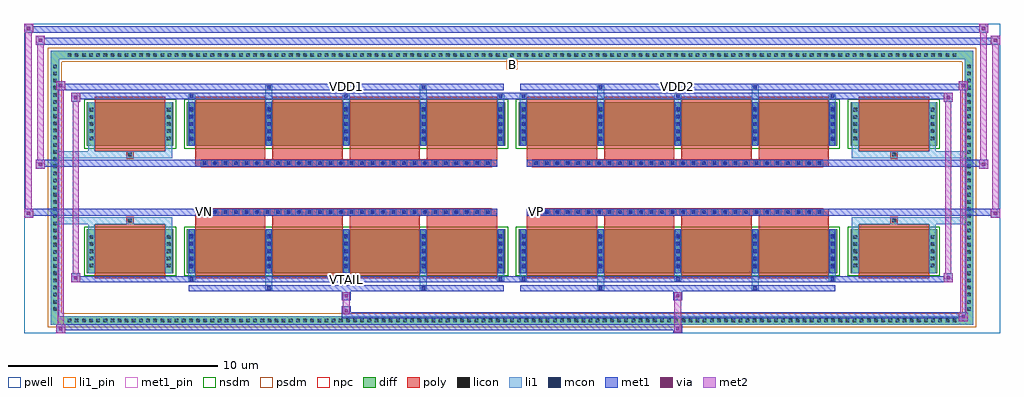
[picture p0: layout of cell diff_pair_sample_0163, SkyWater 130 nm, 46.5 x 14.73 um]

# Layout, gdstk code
import gdstk
lib = gdstk.Library(unit=1e-6, precision=5e-09)
def R(c, l, rs):  # rectangles x0, y0, x1, y1
    for r in rs: c.add(gdstk.rectangle(r[:2], r[2:], *l))
def A(c, l, x, y, w, h, nx, ny, dx, dy):  # array of equal rectangles
    R(c, l, [(x+i*dx, y+j*dy, x+i*dx+w, y+j*dy+h) for i in range(nx) for j in range(ny)])
def P(c, l, *ps):  # polygons
    for p in ps: c.add(gdstk.Polygon(p, *l))
pwell = (64, 44)
diff = (65, 20)
poly = (66, 20)
licon = (66, 44)
li1_pin = (67, 16)
li1 = (67, 20)
mcon = (67, 44)
met1_pin = (68, 16)
met1 = (68, 20)
via = (68, 44)
met2 = (69, 20)
nsdm = (93, 44)
psdm = (94, 20)
npc = (95, 20)

diff_pair_sample_0163 = lib.new_cell('diff_pair_sample_0163')
R(diff_pair_sample_0163, pwell, [(-23.25,-6.93,23.25,7.8), (-20.57,-5.12,-0.01,-0.8), (0.01,-5.12,20.57,-0.8), (-20.57,0.8,-0.01,5.12), (0.01,0.8,20.57,5.12)])
A(diff_pair_sample_0163, diff, -21.285, -6.53, 0.41, 0.41, 125, 2, 0.34, 12.65)
A(diff_pair_sample_0163, diff, -21.98, -5.985, 0.41, 0.41, 1, 35, 0, 0.34)
A(diff_pair_sample_0163, diff, 21.57, -5.985, 0.41, 0.41, 1, 35, 0, 0.34)
R(diff_pair_sample_0163, diff, [(-21.285,-6.53,21.285,-6.12), (-21.98,-5.985,-21.57,5.985), (21.57,-5.985,21.98,5.985), (-20.26,-4.075,-16.13,-1.985), (-15.49,-4.075,-0.32,-1.985), (0.32,-4.075,15.49,-1.985), (16.13,-4.075,20.26,-1.985), (-20.26,1.985,-16.13,4.075), (-15.49,1.985,-0.32,4.075), (0.32,1.985,15.49,4.075), (16.13,1.985,20.26,4.075), (-21.285,6.12,21.285,6.53)])
P(diff_pair_sample_0163, diff, [(21.98,6.53),(-21.98,6.53),(-21.98,-6.12),(-21.57,-6.12),(-21.57,6.12),(21.57,6.12),(21.57,-6.12),(-21.57,-6.12),(-21.98,-6.12),(-21.98,-6.53),(21.98,-6.53)])
A(diff_pair_sample_0163, poly, -15.1, -4.325, 3.35, 2.59, 4, 2, 3.68, 6.06)
A(diff_pair_sample_0163, poly, 0.71, -4.325, 3.35, 2.59, 4, 2, 3.68, 6.06)
A(diff_pair_sample_0163, poly, -15.1, -1.735, 3.35, 0.405, 4, 2, 3.68, 3.065)
A(diff_pair_sample_0163, poly, 0.71, -1.735, 3.35, 0.405, 4, 2, 3.68, 3.065)
A(diff_pair_sample_0163, poly, -14.82, -1.33, 0.33, 0.33, 28, 2, 0.5, 2.33)
A(diff_pair_sample_0163, poly, 0.99, -1.33, 0.33, 0.33, 28, 2, 0.5, 2.33)
R(diff_pair_sample_0163, poly, [(-19.87,-4.325,-16.52,-1.735), (16.52,-4.325,19.87,-1.735), (-18.36,-1.735,-18.03,-1.405), (-18.36,-1.735,-18.03,-1.405), (18.03,-1.735,18.36,-1.405), (18.03,-1.735,18.36,-1.405), (-15.1,-1.33,-0.71,-1), (0.71,-1.33,15.1,-1), (-15.1,1,-0.71,1.33), (0.71,1,15.1,1.33), (-18.36,1.405,-18.03,1.735), (-18.36,1.405,-18.03,1.735), (18.03,1.405,18.36,1.735), (18.03,1.405,18.36,1.735), (-19.87,1.735,-16.52,4.325), (16.52,1.735,19.87,4.325)])
A(diff_pair_sample_0163, licon, -21.165, -6.41, 0.17, 0.17, 125, 2, 0.34, 12.65)
A(diff_pair_sample_0163, licon, -21.86, -5.865, 0.17, 0.17, 1, 35, 0, 0.34)
A(diff_pair_sample_0163, licon, 21.69, -5.865, 0.17, 0.17, 1, 35, 0, 0.34)
A(diff_pair_sample_0163, licon, -20.12, -3.795, 0.17, 0.17, 1, 5, 0, 0.34)
A(diff_pair_sample_0163, licon, -16.44, -3.795, 0.17, 0.17, 1, 5, 0, 0.34)
A(diff_pair_sample_0163, licon, -15.35, -3.795, 0.17, 0.17, 5, 5, 3.68, 0.34)
A(diff_pair_sample_0163, licon, 0.46, -3.795, 0.17, 0.17, 5, 5, 3.68, 0.34)
A(diff_pair_sample_0163, licon, 16.27, -3.795, 0.17, 0.17, 1, 5, 0, 0.34)
A(diff_pair_sample_0163, licon, 19.95, -3.795, 0.17, 0.17, 1, 5, 0, 0.34)
A(diff_pair_sample_0163, licon, -14.74, -1.25, 0.17, 0.17, 28, 2, 0.5, 2.33)
A(diff_pair_sample_0163, licon, 1.07, -1.25, 0.17, 0.17, 28, 2, 0.5, 2.33)
A(diff_pair_sample_0163, licon, -20.12, 2.265, 0.17, 0.17, 1, 5, 0, 0.34)
A(diff_pair_sample_0163, licon, -16.44, 2.265, 0.17, 0.17, 1, 5, 0, 0.34)
A(diff_pair_sample_0163, licon, -15.35, 2.265, 0.17, 0.17, 5, 5, 3.68, 0.34)
A(diff_pair_sample_0163, licon, 0.46, 2.265, 0.17, 0.17, 5, 5, 3.68, 0.34)
A(diff_pair_sample_0163, licon, 16.27, 2.265, 0.17, 0.17, 1, 5, 0, 0.34)
A(diff_pair_sample_0163, licon, 19.95, 2.265, 0.17, 0.17, 1, 5, 0, 0.34)
R(diff_pair_sample_0163, licon, [(-18.28,-1.655,-18.11,-1.485), (18.11,-1.655,18.28,-1.485), (-18.28,1.485,-18.11,1.655), (18.11,1.485,18.28,1.655)])
R(diff_pair_sample_0163, li1_pin, [(-0.25,5.62,0.25,6.12)])
A(diff_pair_sample_0163, li1, -21.245, -6.49, 0.33, 0.33, 125, 2, 0.34, 12.65)
A(diff_pair_sample_0163, li1, -21.94, -5.945, 0.33, 0.33, 1, 35, 0, 0.34)
A(diff_pair_sample_0163, li1, 21.61, -5.945, 0.33, 0.33, 1, 35, 0, 0.34)
A(diff_pair_sample_0163, li1, -15.43, -4.45, 0.33, 0.375, 3, 2, 7.36, 8.525)
A(diff_pair_sample_0163, li1, -15.35, -4.45, 0.17, 0.17, 3, 2, 7.36, 8.73)
A(diff_pair_sample_0163, li1, 0.38, -4.45, 0.33, 0.375, 3, 2, 7.36, 8.525)
A(diff_pair_sample_0163, li1, 0.46, -4.45, 0.17, 0.17, 3, 2, 7.36, 8.73)
A(diff_pair_sample_0163, li1, -15.43, -4.075, 0.33, 2.09, 5, 2, 3.68, 6.06)
A(diff_pair_sample_0163, li1, 0.38, -4.075, 0.33, 2.09, 5, 2, 3.68, 6.06)
A(diff_pair_sample_0163, li1, -20.2, -3.875, 0.33, 0.33, 1, 5, 0, 0.34)
A(diff_pair_sample_0163, li1, -16.52, -3.875, 0.33, 0.33, 1, 5, 0, 0.34)
A(diff_pair_sample_0163, li1, -15.43, -3.875, 0.33, 0.33, 5, 5, 3.68, 0.34)
A(diff_pair_sample_0163, li1, 0.38, -3.875, 0.33, 0.33, 5, 5, 3.68, 0.34)
A(diff_pair_sample_0163, li1, 16.19, -3.875, 0.33, 0.33, 1, 5, 0, 0.34)
A(diff_pair_sample_0163, li1, 19.87, -3.875, 0.33, 0.33, 1, 5, 0, 0.34)
A(diff_pair_sample_0163, li1, -15.35, -3.835, 0.17, 0.17, 5, 5, 3.68, 0.36)
A(diff_pair_sample_0163, li1, -15.35, -3.835, 0.17, 1.61, 5, 2, 3.68, 6.06)
A(diff_pair_sample_0163, li1, 0.46, -3.835, 0.17, 0.17, 5, 5, 3.68, 0.36)
A(diff_pair_sample_0163, li1, 0.46, -3.835, 0.17, 1.61, 5, 2, 3.68, 6.06)
A(diff_pair_sample_0163, li1, -14.82, -1.33, 0.33, 0.33, 28, 2, 0.5, 2.33)
A(diff_pair_sample_0163, li1, 0.99, -1.33, 0.33, 0.33, 28, 2, 0.5, 2.33)
A(diff_pair_sample_0163, li1, -20.2, 2.185, 0.33, 0.33, 1, 5, 0, 0.34)
A(diff_pair_sample_0163, li1, -16.52, 2.185, 0.33, 0.33, 1, 5, 0, 0.34)
A(diff_pair_sample_0163, li1, -15.43, 2.185, 0.33, 0.33, 5, 5, 3.68, 0.34)
A(diff_pair_sample_0163, li1, 0.38, 2.185, 0.33, 0.33, 5, 5, 3.68, 0.34)
A(diff_pair_sample_0163, li1, 16.19, 2.185, 0.33, 0.33, 1, 5, 0, 0.34)
A(diff_pair_sample_0163, li1, 19.87, 2.185, 0.33, 0.33, 1, 5, 0, 0.34)
A(diff_pair_sample_0163, li1, -15.35, 2.225, 0.17, 0.17, 5, 5, 3.68, 0.36)
A(diff_pair_sample_0163, li1, 0.46, 2.225, 0.17, 0.17, 5, 5, 3.68, 0.36)
R(diff_pair_sample_0163, li1, [(-21.98,-6.53,-21.57,-6.12), (-21.98,-6.53,-21.57,-6.12), (-21.57,-6.53,21.57,-6.12), (21.57,-6.53,21.98,-6.12), (21.57,-6.53,21.98,-6.12), (-21.98,-6.12,-21.57,6.12), (21.57,-6.12,21.98,6.12), (-11.75,-4.88,-11.42,-4.075), (-11.67,-4.88,-11.5,-4.71), (-4.39,-4.88,-4.06,-4.075), (-4.31,-4.88,-4.14,-4.71), (4.06,-4.88,4.39,-4.075), (4.14,-4.88,4.31,-4.71), (11.42,-4.88,11.75,-4.075), (11.5,-4.88,11.67,-4.71), (-20.2,-4.075,-19.87,-1.985), (-16.52,-4.075,-16.19,-1.985), (16.19,-4.075,16.52,-1.985), (19.87,-4.075,20.2,-1.985), (-20.2,-1.985,-19.87,-1.405), (-16.52,-1.985,-16.19,-1.405), (16.19,-1.985,16.52,-1.405), (19.87,-1.985,20.2,-1.405), (-21.98,-1.735,-18.36,-1.405), (-20.2,-1.735,-18.36,-1.405), (-18.36,-1.735,-18.03,-1.405), (-18.03,-1.735,-16.19,-1.405), (16.19,-1.735,18.03,-1.405), (18.03,-1.735,18.36,-1.405), (18.03,-1.735,21.98,-1.405), (18.36,-1.735,20.2,-1.405), (-21.98,1.405,-18.36,1.735), (-20.2,1.405,-18.36,1.735), (-20.2,1.405,-19.87,1.985), (-18.36,1.405,-18.03,1.735), (-18.03,1.405,-16.19,1.735), (-16.52,1.405,-16.19,1.985), (16.19,1.405,18.03,1.735), (16.19,1.405,16.52,1.985), (18.03,1.405,18.36,1.735), (18.03,1.405,21.98,1.735), (18.36,1.405,20.2,1.735), (19.87,1.405,20.2,1.985), (-20.2,1.985,-19.87,4.075), (-16.52,1.985,-16.19,4.075), (16.19,1.985,16.52,4.075), (19.87,1.985,20.2,4.075), (-11.75,4.075,-11.42,4.88), (-4.39,4.075,-4.06,4.88), (4.06,4.075,4.39,4.88), (11.42,4.075,11.75,4.88), (-11.67,4.71,-11.5,4.88), (-4.31,4.71,-4.14,4.88), (4.14,4.71,4.31,4.88), (11.5,4.71,11.67,4.88), (-21.98,6.12,-21.57,6.53), (-21.98,6.12,-21.57,6.53), (-21.57,6.12,21.57,6.53), (21.57,6.12,21.98,6.53), (21.57,6.12,21.98,6.53)])
A(diff_pair_sample_0163, mcon, -15.35, -4.45, 0.17, 0.17, 3, 2, 7.36, 8.73)
A(diff_pair_sample_0163, mcon, 0.46, -4.45, 0.17, 0.17, 3, 2, 7.36, 8.73)
A(diff_pair_sample_0163, mcon, -15.35, -3.835, 0.17, 0.17, 5, 5, 3.68, 0.36)
A(diff_pair_sample_0163, mcon, 0.46, -3.835, 0.17, 0.17, 5, 5, 3.68, 0.36)
A(diff_pair_sample_0163, mcon, -14.74, -1.25, 0.17, 0.17, 28, 2, 0.5, 2.33)
A(diff_pair_sample_0163, mcon, 1.07, -1.25, 0.17, 0.17, 28, 2, 0.5, 2.33)
A(diff_pair_sample_0163, mcon, -15.35, 2.225, 0.17, 0.17, 5, 5, 3.68, 0.36)
A(diff_pair_sample_0163, mcon, 0.46, 2.225, 0.17, 0.17, 5, 5, 3.68, 0.36)
R(diff_pair_sample_0163, mcon, [(-11.67,-4.88,-11.5,-4.71), (-4.31,-4.88,-4.14,-4.71), (4.14,-4.88,4.31,-4.71), (11.5,-4.88,11.67,-4.71), (-11.67,4.71,-11.5,4.88), (-4.31,4.71,-4.14,4.88), (4.14,4.71,4.31,4.88), (11.5,4.71,11.67,4.88)])
R(diff_pair_sample_0163, met1_pin, [(-8.04,-4.49,-7.77,-4.22), (-14.79,-1.29,-14.52,-1.02), (1.02,-1.29,1.29,-1.02), (-8.04,4.67,-7.77,4.94), (7.77,4.67,8.04,4.94)])
A(diff_pair_sample_0163, met1, -15.41, -4.51, 0.29, 0.29, 3, 2, 7.36, 8.73)
A(diff_pair_sample_0163, met1, 0.4, -4.51, 0.29, 0.29, 3, 2, 7.36, 8.73)
A(diff_pair_sample_0163, met1, -15.41, -4.075, 0.29, 2.09, 5, 2, 3.68, 6.06)
A(diff_pair_sample_0163, met1, 0.4, -4.075, 0.29, 2.09, 5, 2, 3.68, 6.06)
A(diff_pair_sample_0163, met1, -15.41, -3.895, 0.29, 0.29, 5, 5, 3.68, 0.36)
A(diff_pair_sample_0163, met1, 0.4, -3.895, 0.29, 0.29, 5, 5, 3.68, 0.36)
A(diff_pair_sample_0163, met1, -14.8, -1.31, 0.29, 0.29, 28, 2, 0.5, 2.33)
A(diff_pair_sample_0163, met1, 1.01, -1.31, 0.29, 0.29, 28, 2, 0.5, 2.33)
A(diff_pair_sample_0163, met1, -15.41, 2.165, 0.29, 0.29, 5, 5, 3.68, 0.36)
A(diff_pair_sample_0163, met1, 0.4, 2.165, 0.29, 0.29, 5, 5, 3.68, 0.36)
R(diff_pair_sample_0163, met1, [(-21.71,-6.93,-21.28,-6.5), (7.69,-6.93,8.12,-6.5), (-21.71,-6.79,8.12,-6.5), (21.28,-6.36,21.71,-5.93), (-8.12,-6.22,21.71,-5.93), (-8.12,-6.08,-7.69,-5.65), (-8.12,-5.37,-7.69,-4.94), (7.69,-5.37,8.12,-4.94), (-15.41,-4.94,-0.4,-4.65), (-11.73,-4.94,-11.44,-4.65), (-4.37,-4.94,-4.08,-4.65), (0.4,-4.94,15.41,-4.65), (4.08,-4.94,4.37,-4.65), (11.44,-4.94,11.73,-4.65), (-21,-4.51,-20.57,-4.08), (-21,-4.51,-15.41,-4.22), (-15.41,-4.51,-0.4,-4.22), (-0.4,-4.51,0.4,-4.22), (0.4,-4.51,15.41,-4.22), (15.41,-4.51,21,-4.22), (20.57,-4.51,21,-4.08), (-23.25,-1.43,-22.82,-1), (22.82,-1.43,23.25,-1), (-23.25,-1.33,-0.71,-1), (-15.1,-1.33,-0.71,-1), (0.71,-1.33,15.1,-1), (0.71,-1.33,23.25,-1), (-22.68,0.9,-22.25,1.33), (22.25,0.9,22.68,1.33), (-22.68,1,-15.1,1.33), (-15.1,1,-0.71,1.33), (0.71,1,15.1,1.33), (15.1,1,22.68,1.33), (-21,4.08,-20.57,4.51), (20.57,4.08,21,4.51), (-21,4.22,-15.41,4.51), (-15.41,4.22,-0.4,4.51), (-0.4,4.22,0.4,4.51), (0.4,4.22,15.41,4.51), (15.41,4.22,21,4.51), (-21.71,4.65,-21.28,5.08), (-21.71,4.65,-15.41,4.94), (-15.41,4.65,-0.4,4.94), (-11.73,4.65,-11.44,4.94), (-4.37,4.65,-4.08,4.94), (0.4,4.65,15.41,4.94), (4.08,4.65,4.37,4.94), (11.44,4.65,11.73,4.94), (15.41,4.65,21.71,4.94), (21.28,4.65,21.71,5.08), (-22.68,6.8,-22.25,7.23), (-22.68,6.8,-20.57,7.13), (-20.57,6.8,20.57,7.13), (20.57,6.8,23.25,7.13), (22.82,6.8,23.25,7.23), (-23.25,7.37,-22.82,7.8), (-23.25,7.37,-20.57,7.7), (-20.57,7.37,20.57,7.7), (20.57,7.37,22.68,7.7), (22.25,7.37,22.68,7.8)])
R(diff_pair_sample_0163, via, [(-21.57,-6.79,-21.42,-6.64), (7.83,-6.79,7.98,-6.64), (21.42,-6.22,21.57,-6.07), (-7.98,-5.94,-7.83,-5.79), (-7.98,-5.23,-7.83,-5.08), (7.83,-5.23,7.98,-5.08), (-20.86,-4.37,-20.71,-4.22), (20.71,-4.37,20.86,-4.22), (-23.11,-1.29,-22.96,-1.14), (22.96,-1.29,23.11,-1.14), (-22.54,1.04,-22.39,1.19), (22.39,1.04,22.54,1.19), (-20.86,4.22,-20.71,4.37), (20.71,4.22,20.86,4.37), (-21.57,4.79,-21.42,4.94), (21.42,4.79,21.57,4.94), (-22.54,6.94,-22.39,7.09), (22.96,6.94,23.11,7.09), (-23.11,7.51,-22.96,7.66), (22.39,7.51,22.54,7.66)])
R(diff_pair_sample_0163, met2, [(-21.71,-6.93,-21.28,-6.5), (-21.64,-6.93,-21.35,5.08), (-21.35,-6.93,-21.28,-6.5), (-21.66,-6.88,-21.33,-6.55), (7.74,-6.88,8.07,-6.55), (7.74,-6.55,8.07,-5.32), (21.28,-6.36,21.71,-5.93), (21.35,-6.36,21.64,5.08), (21.64,-6.36,21.71,-5.93), (21.33,-6.31,21.66,-5.98), (-8.07,-6.03,-7.74,-5.7), (-8.07,-5.7,-7.74,-5.32), (-8.07,-5.32,-7.74,-4.99), (7.74,-5.32,8.07,-4.99), (-21,-4.51,-20.57,-4.08), (-20.93,-4.51,-20.64,4.51), (-20.64,-4.51,-20.57,-4.08), (20.57,-4.51,21,-4.08), (20.64,-4.51,20.93,4.51), (20.93,-4.51,21,-4.08), (-20.95,-4.46,-20.62,-4.13), (20.62,-4.46,20.95,-4.13), (-23.25,-1.43,-22.82,-1), (-23.2,-1.43,-22.87,7.8), (-22.87,-1.43,-22.82,-1), (22.82,-1.43,23.25,-1), (22.87,-1.43,23.2,7.23), (23.2,-1.43,23.25,-1), (-23.2,-1.38,-22.87,-1.05), (22.87,-1.38,23.2,-1.05), (-22.68,0.9,-22.25,1.33), (-22.63,0.9,-22.3,7.23), (-22.3,0.9,-22.25,1.33), (22.25,0.9,22.68,1.33), (22.3,0.9,22.63,7.8), (22.63,0.9,22.68,1.33), (-22.63,0.95,-22.3,1.28), (22.3,0.95,22.63,1.28), (-21,4.08,-20.57,4.51), (-20.64,4.08,-20.57,4.51), (20.57,4.08,21,4.51), (20.93,4.08,21,4.51), (-20.95,4.13,-20.62,4.46), (20.62,4.13,20.95,4.46), (-21.71,4.65,-21.28,5.08), (-21.35,4.65,-21.28,5.08), (21.28,4.65,21.71,5.08), (21.64,4.65,21.71,5.08), (-21.66,4.7,-21.33,5.03), (21.33,4.7,21.66,5.03), (-22.68,6.8,-22.25,7.23), (-22.3,6.8,-22.25,7.23), (22.82,6.8,23.25,7.23), (23.2,6.8,23.25,7.23), (-22.63,6.85,-22.3,7.18), (22.87,6.85,23.2,7.18), (-23.25,7.37,-22.82,7.8), (-22.87,7.37,-22.82,7.8), (22.25,7.37,22.68,7.8), (22.63,7.37,22.68,7.8), (-23.2,7.42,-22.87,7.75), (22.3,7.42,22.63,7.75)])
R(diff_pair_sample_0163, nsdm, [(-20.39,-4.205,-16,-1.855), (-15.62,-4.205,-0.19,-1.855), (0.19,-4.205,15.62,-1.855), (16,-4.205,20.39,-1.855), (-20.39,1.855,-16,4.205), (-15.62,1.855,-0.19,4.205), (0.19,1.855,15.62,4.205), (16,1.855,20.39,4.205)])
P(diff_pair_sample_0163, psdm, [(22.11,6.66),(-22.11,6.66),(-22.11,-5.99),(-21.44,-5.99),(-21.44,5.99),(21.44,5.99),(21.44,-5.99),(-21.44,-5.99),(-22.11,-5.99),(-22.11,-6.66),(22.11,-6.66)])
A(diff_pair_sample_0163, npc, -14.84, -1.35, 0.37, 0.37, 28, 2, 0.5, 2.33)
A(diff_pair_sample_0163, npc, 0.97, -1.35, 0.37, 0.37, 28, 2, 0.5, 2.33)
R(diff_pair_sample_0163, npc, [(-18.38,-1.755,-18.01,-1.385), (18.01,-1.755,18.38,-1.385), (-14.84,-1.35,-13.97,-0.98), (-14.84,-1.35,-13.97,-0.98), (-14.34,-1.35,-13.47,-0.98), (-14.34,-1.35,-13.47,-0.98), (-13.84,-1.35,-12.97,-0.98), (-13.84,-1.35,-12.97,-0.98), (-13.34,-1.35,-12.47,-0.98), (-13.34,-1.35,-12.47,-0.98), (-12.84,-1.35,-11.97,-0.98), (-12.84,-1.35,-11.97,-0.98), (-12.34,-1.35,-11.47,-0.98), (-12.34,-1.35,-11.47,-0.98), (-11.84,-1.35,-10.97,-0.98), (-11.84,-1.35,-10.97,-0.98), (-11.34,-1.35,-10.47,-0.98), (-11.34,-1.35,-10.47,-0.98), (-10.84,-1.35,-9.97,-0.98), (-10.84,-1.35,-9.97,-0.98), (-10.34,-1.35,-9.47,-0.98), (-10.34,-1.35,-9.47,-0.98), (-9.84,-1.35,-8.97,-0.98), (-9.84,-1.35,-8.97,-0.98), (-9.34,-1.35,-8.47,-0.98), (-9.34,-1.35,-8.47,-0.98), (-8.84,-1.35,-7.97,-0.98), (-8.84,-1.35,-7.97,-0.98), (-8.34,-1.35,-7.47,-0.98), (-8.34,-1.35,-7.47,-0.98), (-7.84,-1.35,-6.97,-0.98), (-7.84,-1.35,-6.97,-0.98), (-7.34,-1.35,-6.47,-0.98), (-7.34,-1.35,-6.47,-0.98), (-6.84,-1.35,-5.97,-0.98), (-6.84,-1.35,-5.97,-0.98), (-6.34,-1.35,-5.47,-0.98), (-6.34,-1.35,-5.47,-0.98), (-5.84,-1.35,-4.97,-0.98), (-5.84,-1.35,-4.97,-0.98), (-5.34,-1.35,-4.47,-0.98), (-5.34,-1.35,-4.47,-0.98), (-4.84,-1.35,-3.97,-0.98), (-4.84,-1.35,-3.97,-0.98), (-4.34,-1.35,-3.47,-0.98), (-4.34,-1.35,-3.47,-0.98), (-3.84,-1.35,-2.97,-0.98), (-3.84,-1.35,-2.97,-0.98), (-3.34,-1.35,-2.47,-0.98), (-3.34,-1.35,-2.47,-0.98), (-2.84,-1.35,-1.97,-0.98), (-2.84,-1.35,-1.97,-0.98), (-2.34,-1.35,-1.47,-0.98), (-2.34,-1.35,-1.47,-0.98), (-1.84,-1.35,-0.97,-0.98), (-1.84,-1.35,-0.97,-0.98), (0.97,-1.35,1.84,-0.98), (0.97,-1.35,1.84,-0.98), (1.47,-1.35,2.34,-0.98), (1.47,-1.35,2.34,-0.98), (1.97,-1.35,2.84,-0.98), (1.97,-1.35,2.84,-0.98), (2.47,-1.35,3.34,-0.98), (2.47,-1.35,3.34,-0.98), (2.97,-1.35,3.84,-0.98), (2.97,-1.35,3.84,-0.98), (3.47,-1.35,4.34,-0.98), (3.47,-1.35,4.34,-0.98), (3.97,-1.35,4.84,-0.98), (3.97,-1.35,4.84,-0.98), (4.47,-1.35,5.34,-0.98), (4.47,-1.35,5.34,-0.98), (4.97,-1.35,5.84,-0.98), (4.97,-1.35,5.84,-0.98), (5.47,-1.35,6.34,-0.98), (5.47,-1.35,6.34,-0.98), (5.97,-1.35,6.84,-0.98), (5.97,-1.35,6.84,-0.98), (6.47,-1.35,7.34,-0.98), (6.47,-1.35,7.34,-0.98), (6.97,-1.35,7.84,-0.98), (6.97,-1.35,7.84,-0.98), (7.47,-1.35,8.34,-0.98), (7.47,-1.35,8.34,-0.98), (7.97,-1.35,8.84,-0.98), (7.97,-1.35,8.84,-0.98), (8.47,-1.35,9.34,-0.98), (8.47,-1.35,9.34,-0.98), (8.97,-1.35,9.84,-0.98), (8.97,-1.35,9.84,-0.98), (9.47,-1.35,10.34,-0.98), (9.47,-1.35,10.34,-0.98), (9.97,-1.35,10.84,-0.98), (9.97,-1.35,10.84,-0.98), (10.47,-1.35,11.34,-0.98), (10.47,-1.35,11.34,-0.98), (10.97,-1.35,11.84,-0.98), (10.97,-1.35,11.84,-0.98), (11.47,-1.35,12.34,-0.98), (11.47,-1.35,12.34,-0.98), (11.97,-1.35,12.84,-0.98), (11.97,-1.35,12.84,-0.98), (12.47,-1.35,13.34,-0.98), (12.47,-1.35,13.34,-0.98), (12.97,-1.35,13.84,-0.98), (12.97,-1.35,13.84,-0.98), (13.47,-1.35,14.34,-0.98), (13.47,-1.35,14.34,-0.98), (13.97,-1.35,14.84,-0.98), (13.97,-1.35,14.84,-0.98), (-14.84,0.98,-13.97,1.35), (-14.84,0.98,-13.97,1.35), (-14.34,0.98,-13.47,1.35), (-14.34,0.98,-13.47,1.35), (-13.84,0.98,-12.97,1.35), (-13.84,0.98,-12.97,1.35), (-13.34,0.98,-12.47,1.35), (-13.34,0.98,-12.47,1.35), (-12.84,0.98,-11.97,1.35), (-12.84,0.98,-11.97,1.35), (-12.34,0.98,-11.47,1.35), (-12.34,0.98,-11.47,1.35), (-11.84,0.98,-10.97,1.35), (-11.84,0.98,-10.97,1.35), (-11.34,0.98,-10.47,1.35), (-11.34,0.98,-10.47,1.35), (-10.84,0.98,-9.97,1.35), (-10.84,0.98,-9.97,1.35), (-10.34,0.98,-9.47,1.35), (-10.34,0.98,-9.47,1.35), (-9.84,0.98,-8.97,1.35), (-9.84,0.98,-8.97,1.35), (-9.34,0.98,-8.47,1.35), (-9.34,0.98,-8.47,1.35), (-8.84,0.98,-7.97,1.35), (-8.84,0.98,-7.97,1.35), (-8.34,0.98,-7.47,1.35), (-8.34,0.98,-7.47,1.35), (-7.84,0.98,-6.97,1.35), (-7.84,0.98,-6.97,1.35), (-7.34,0.98,-6.47,1.35), (-7.34,0.98,-6.47,1.35), (-6.84,0.98,-5.97,1.35), (-6.84,0.98,-5.97,1.35), (-6.34,0.98,-5.47,1.35), (-6.34,0.98,-5.47,1.35), (-5.84,0.98,-4.97,1.35), (-5.84,0.98,-4.97,1.35), (-5.34,0.98,-4.47,1.35), (-5.34,0.98,-4.47,1.35), (-4.84,0.98,-3.97,1.35), (-4.84,0.98,-3.97,1.35), (-4.34,0.98,-3.47,1.35), (-4.34,0.98,-3.47,1.35), (-3.84,0.98,-2.97,1.35), (-3.84,0.98,-2.97,1.35), (-3.34,0.98,-2.47,1.35), (-3.34,0.98,-2.47,1.35), (-2.84,0.98,-1.97,1.35), (-2.84,0.98,-1.97,1.35), (-2.34,0.98,-1.47,1.35), (-2.34,0.98,-1.47,1.35), (-1.84,0.98,-0.97,1.35), (-1.84,0.98,-0.97,1.35), (0.97,0.98,1.84,1.35), (0.97,0.98,1.84,1.35), (1.47,0.98,2.34,1.35), (1.47,0.98,2.34,1.35), (1.97,0.98,2.84,1.35), (1.97,0.98,2.84,1.35), (2.47,0.98,3.34,1.35), (2.47,0.98,3.34,1.35), (2.97,0.98,3.84,1.35), (2.97,0.98,3.84,1.35), (3.47,0.98,4.34,1.35), (3.47,0.98,4.34,1.35), (3.97,0.98,4.84,1.35), (3.97,0.98,4.84,1.35), (4.47,0.98,5.34,1.35), (4.47,0.98,5.34,1.35), (4.97,0.98,5.84,1.35), (4.97,0.98,5.84,1.35), (5.47,0.98,6.34,1.35), (5.47,0.98,6.34,1.35), (5.97,0.98,6.84,1.35), (5.97,0.98,6.84,1.35), (6.47,0.98,7.34,1.35), (6.47,0.98,7.34,1.35), (6.97,0.98,7.84,1.35), (6.97,0.98,7.84,1.35), (7.47,0.98,8.34,1.35), (7.47,0.98,8.34,1.35), (7.97,0.98,8.84,1.35), (7.97,0.98,8.84,1.35), (8.47,0.98,9.34,1.35), (8.47,0.98,9.34,1.35), (8.97,0.98,9.84,1.35), (8.97,0.98,9.84,1.35), (9.47,0.98,10.34,1.35), (9.47,0.98,10.34,1.35), (9.97,0.98,10.84,1.35), (9.97,0.98,10.84,1.35), (10.47,0.98,11.34,1.35), (10.47,0.98,11.34,1.35), (10.97,0.98,11.84,1.35), (10.97,0.98,11.84,1.35), (11.47,0.98,12.34,1.35), (11.47,0.98,12.34,1.35), (11.97,0.98,12.84,1.35), (11.97,0.98,12.84,1.35), (12.47,0.98,13.34,1.35), (12.47,0.98,13.34,1.35), (12.97,0.98,13.84,1.35), (12.97,0.98,13.84,1.35), (13.47,0.98,14.34,1.35), (13.47,0.98,14.34,1.35), (13.97,0.98,14.84,1.35), (13.97,0.98,14.84,1.35), (-18.38,1.385,-18.01,1.755), (18.01,1.385,18.38,1.755)])
diff_pair_sample_0163.add(gdstk.Label('VTAIL', (-7.905,-4.355), layer=68, texttype=5))
diff_pair_sample_0163.add(gdstk.Label('VN', (-14.655,-1.155), layer=68, texttype=5))
diff_pair_sample_0163.add(gdstk.Label('VP', (1.155,-1.155), layer=68, texttype=5))
diff_pair_sample_0163.add(gdstk.Label('B', (0,5.87), layer=67, texttype=5))
diff_pair_sample_0163.add(gdstk.Label('VDD2', (7.905,4.805), layer=68, texttype=5))
diff_pair_sample_0163.add(gdstk.Label('VDD1', (-7.905,4.805), layer=68, texttype=5))

lib.write_gds('diff_pair_sample_0163.gds')
